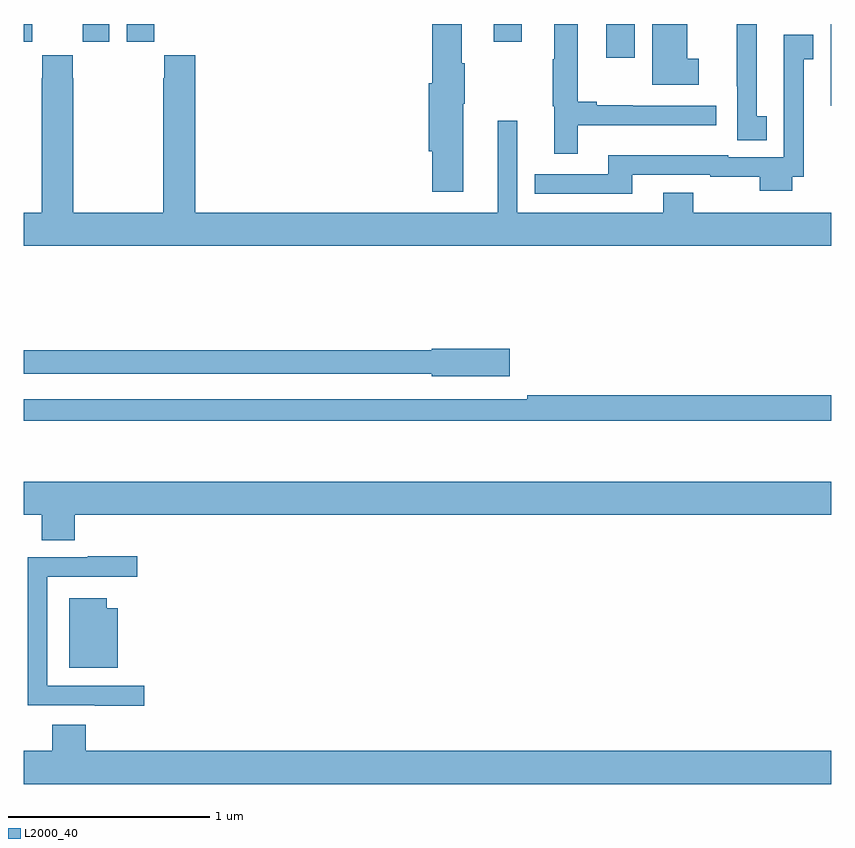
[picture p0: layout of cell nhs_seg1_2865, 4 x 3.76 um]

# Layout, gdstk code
import gdstk
lib = gdstk.Library(unit=1e-6, precision=1e-09)
def R(c, l, rs):  # rectangles x0, y0, x1, y1
    for r in rs: c.add(gdstk.rectangle(r[:2], r[2:], *l))
def P(c, l, *ps):  # polygons
    for p in ps: c.add(gdstk.Polygon(p, *l))
L2000_40 = (2000, 40)

nhs_seg1_2865 = lib.new_cell('nhs_seg1_2865')
R(nhs_seg1_2865, L2000_40, [(270.996,517.793,271,518.199), (269.885,518.031,270.025,518.199), (267,518.112,267.042,518.199), (267.294,518.112,267.424,518.199), (267.512,518.112,267.646,518.199), (269.327,518.112,269.467,518.199)])
P(nhs_seg1_2865, L2000_40, [(269.743,517.697),(270.43,517.697),(270.43,517.794),(270.017,517.794),(270.017,517.797),(269.839,517.797),(269.839,517.814),(269.743,517.814),(269.743,518.199),(269.627,518.199),(269.627,518.024),(269.62,518.024),(269.62,517.791),(269.627,517.791),(269.627,517.557),(269.743,517.557)],
  [(270.343,518.028),(270.286,518.028),(270.286,518.199),(270.113,518.199),(270.113,517.898),(270.343,517.898)],
  [(270.68,517.743),(270.631,517.743),(270.631,518.199),(270.532,518.199),(270.532,517.891),(270.534,517.891),(270.534,517.624),(270.68,517.624)],
  [(269.176,517.805),(269.184,517.805),(269.184,518.005),(269.17,518.005),(269.17,518.199),(269.024,518.199),(269.024,517.905),(269.006,517.905),(269.006,517.569),(269.024,517.569),(269.024,517.368),(269.176,517.368)],
  [(270.013,517.452),(270.399,517.452),(270.399,517.442),(270.646,517.442),(270.646,517.373),(270.805,517.373),(270.805,517.443),(270.862,517.443),(270.862,518.025),(270.911,518.025),(270.911,518.145),(270.764,518.145),(270.764,517.822),(270.765,517.822),(270.765,517.539),(270.489,517.539),(270.489,517.549),(269.894,517.549),(269.894,517.455),(269.53,517.455),(269.53,517.359),(270.013,517.359)],
  [(271,517.264),(270.315,517.264),(270.315,517.363),(270.167,517.363),(270.167,517.264),(269.445,517.264),(269.445,517.72),(269.348,517.72),(269.348,517.264),(267.851,517.264),(267.851,518.044),(267.697,518.044),(267.697,517.931),(267.691,517.931),(267.691,517.264),(267.246,517.264),(267.246,517.931),(267.243,517.931),(267.243,518.044),(267.093,518.044),(267.093,517.931),(267.091,517.931),(267.091,517.264),(267,517.264),(267,517.1),(271,517.1)],
  [(269.407,516.59),(269.022,516.59),(269.022,516.584),(267,516.584),(267,516.468),(269.022,516.468),(269.022,516.455),(269.407,516.455)],
  [(271,516.362),(269.494,516.362),(269.494,516.342),(267,516.342),(267,516.234),(271,516.234)],
  [(267.254,515.768),(271,515.768),(271,515.932),(267,515.932),(267,515.768),(267.089,515.768),(267.089,515.644),(267.254,515.644)],
  [(267.598,514.923),(267.117,514.923),(267.117,515.463),(267.562,515.463),(267.562,515.563),(267.317,515.563),(267.317,515.559),(267.021,515.559),(267.021,514.827),(267.353,514.827),(267.353,514.823),(267.598,514.823)],
  [(267.466,515.305),(267.413,515.305),(267.413,515.356),(267.227,515.356),(267.227,515.012),(267.466,515.012)],
  [(271,514.6),(267.308,514.6),(267.308,514.729),(267.143,514.729),(267.143,514.6),(267,514.6),(267,514.436),(271,514.436)])

lib.write_gds('nhs_seg1_2865.gds')
